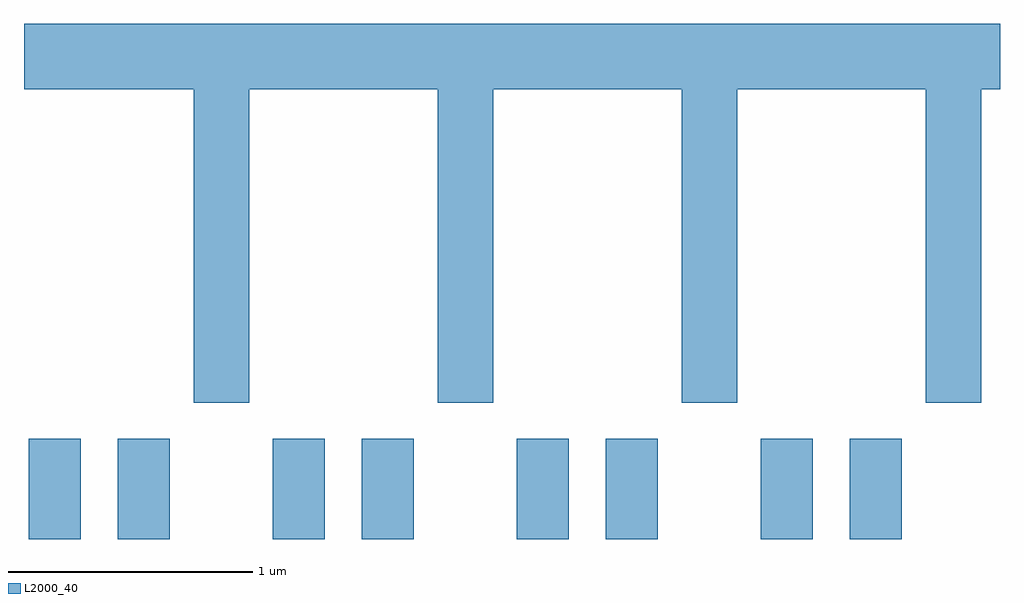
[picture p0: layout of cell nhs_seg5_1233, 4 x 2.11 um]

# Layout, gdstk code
import gdstk
lib = gdstk.Library(unit=1e-6, precision=1e-09)
def R(c, l, rs):  # rectangles x0, y0, x1, y1
    for r in rs: c.add(gdstk.rectangle(r[:2], r[2:], *l))
def P(c, l, *ps):  # polygons
    for p in ps: c.add(gdstk.Polygon(p, *l))
L2000_40 = (2000, 40)

nhs_seg5_1233 = lib.new_cell('nhs_seg5_1233')
R(nhs_seg5_1233, L2000_40, [(221.631,1446.072,221.844,1446.484), (221.996,1446.072,222.209,1446.484), (222.631,1446.072,222.844,1446.484), (222.996,1446.072,223.209,1446.484), (223.631,1446.072,223.844,1446.484), (223.996,1446.072,224.209,1446.484), (224.631,1446.072,224.844,1446.484), (224.996,1446.072,225.209,1446.484)])
P(nhs_seg5_1233, L2000_40, [(222.534,1447.916),(223.306,1447.916),(223.306,1446.631),(223.534,1446.631),(223.534,1447.916),(224.306,1447.916),(224.306,1446.631),(224.534,1446.631),(224.534,1447.916),(225.306,1447.916),(225.306,1446.631),(225.534,1446.631),(225.534,1447.916),(225.611,1447.916),(225.611,1448.184),(221.611,1448.184),(221.611,1447.916),(222.306,1447.916),(222.306,1446.631),(222.534,1446.631)])

lib.write_gds('nhs_seg5_1233.gds')
